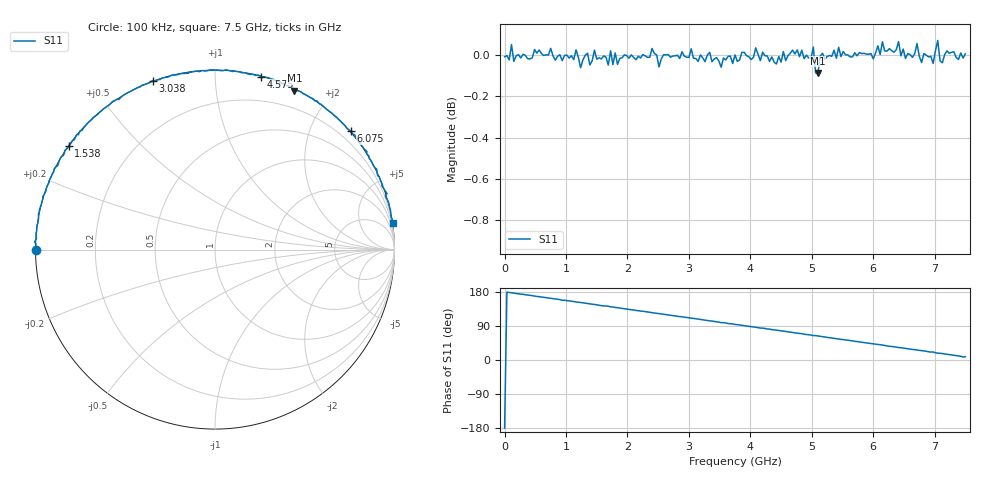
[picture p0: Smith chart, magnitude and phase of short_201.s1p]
# Hz S RI R 50.000000
! FREQ  re:S1  1  im:S1  1
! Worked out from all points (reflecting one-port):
!   201 points, 100 kHz to 7.5 GHz, reference 50 ohm
!   lowest |S11| = -0.1 dB at 5.1 GHz (marker M1), VSWR 200.80, Z = 0.901 + j80.9 ohm
!   phase of S11 starts at -180 deg and turns -171 deg over the sweep
!   S11 on the Smith chart (normalised r, x): 100 kHz: 0.00, -0.00; 1.538 GHz: 0.00, +0.32; 3.038 GHz: -0.00, +0.70; 4.575 GHz: 0.00, +1.30; 6.075 GHz: -0.02, +2.67; 7.5 GHz: -0, +13
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100000  -0.9992 -0.00107
4.87587e8  -0.9837 0.1972
9.37575e8  -0.9229 0.377
1.162569e9  -0.8951 0.4525
1.537559e9  -0.8141 0.5783
1.687555e9  -0.7841 0.6118
1.725054e9  -0.7699 0.642
1.87505e9  -0.7304 0.6804
2.400036e9  -0.5702 0.8261
2.812525e9  -0.4311 0.9023
3.037519e9  -0.348 0.9413
3.75e9  -0.07 0.9977
4.087491e9  0.0614 1.002
4.574978e9  0.2565 0.9634
4.687475e9  0.2996 0.9571
5.024966e9  0.4337 0.9061
5.099964e9  0.4426 0.8856
5.362457e9  0.5449 0.8418
5.62495e9  0.6228 0.7811
6.074938e9  0.7582 0.6601
6.562425e9  0.8697 0.4954
6.899916e9  0.9286 0.3684
6.974914e9  0.9292 0.3569
7.049912e9  0.9589 0.3116
7.087411e9  0.9493 0.3045
7.424902e9  0.9866 0.1706
7.462401e9  0.9887 0.1393
7.4999e9  0.9895 0.1493
